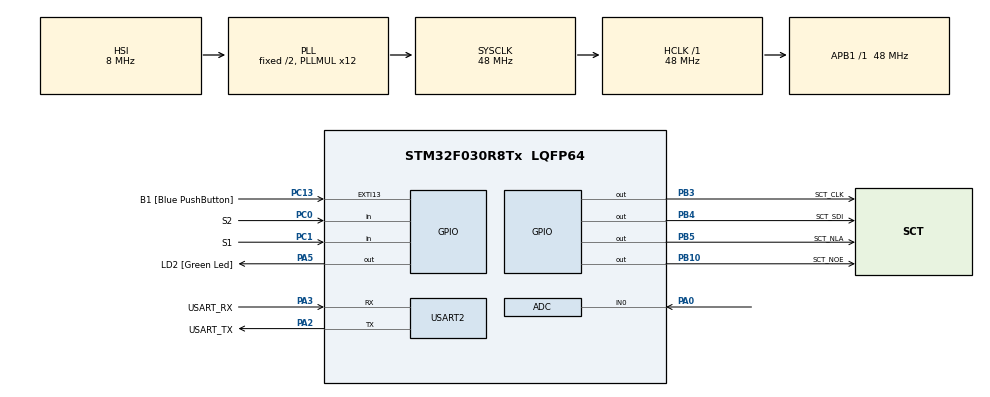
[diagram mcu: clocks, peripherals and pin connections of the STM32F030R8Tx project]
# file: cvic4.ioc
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ADC.ContinuousConvMode=ENABLE
ADC.Overrun=ADC_OVR_DATA_OVERWRITTEN
ADC.SamplingTime=ADC_SAMPLETIME_239CYCLES_5
Mcu.Family=STM32F0
Mcu.Name=STM32F030R8Tx
Mcu.Package=LQFP64
NVIC.ADC1_IRQn=true\:0\:0\:false\:false\:true\:true\:true\:true
PA0.Mode=IN0
PA0.Signal=ADC_IN0
PA13.GPIO_Label=TMS
PA13.Mode=Serial_Wire
PA13.Signal=SYS_SWDIO
PA14.GPIO_Label=TCK
PA14.Mode=Serial_Wire
PA14.Signal=SYS_SWCLK
PA2.GPIO_Label=USART_TX
PA2.GPIO_Mode=GPIO_MODE_AF_PP
PA2.GPIO_PuPd=GPIO_NOPULL
PA2.GPIO_Speed=GPIO_SPEED_FREQ_LOW
PA2.Mode=Asynchronous
PA2.Signal=USART2_TX
PA3.GPIO_Label=USART_RX
PA3.GPIO_Mode=GPIO_MODE_AF_PP
PA3.GPIO_PuPd=GPIO_NOPULL
PA3.GPIO_Speed=GPIO_SPEED_FREQ_LOW
PA3.Mode=Asynchronous
PA3.Signal=USART2_RX
PA5.GPIO_Label=LD2 [Green Led]
PA5.GPIO_Mode=GPIO_MODE_OUTPUT_PP
PA5.GPIO_PuPd=GPIO_NOPULL
PA5.GPIO_Speed=GPIO_SPEED_FREQ_LOW
PA5.Signal=GPIO_Output
PB10.GPIO_Label=SCT_NOE
PB10.Signal=GPIO_Output
PB3.GPIO_Label=SCT_CLK
PB3.Signal=GPIO_Output
PB4.GPIO_Label=SCT_SDI
PB4.Signal=GPIO_Output
PB5.GPIO_Label=SCT_NLA
PB5.Signal=GPIO_Output
PC0.GPIO_Label=S2
PC0.GPIO_PuPd=GPIO_PULLUP
PC0.Signal=GPIO_Input
PC1.GPIO_Label=S1
PC1.GPIO_PuPd=GPIO_PULLUP
PC1.Signal=GPIO_Input
PC13.GPIO_Label=B1 [Blue PushButton]
PC13.GPIO_ModeDefaultEXTI=GPIO_MODE_IT_FALLING
PC13.Signal=GPXTI13
PC14-OSC32_IN.Mode=LSE-External-Oscillator
PC14-OSC32_IN.Signal=RCC_OSC32_IN
PC15-OSC32_OUT.Mode=LSE-External-Oscillator
PC15-OSC32_OUT.Signal=RCC_OSC32_OUT
PF0-OSC_IN.Mode=HSE-External-Clock-Source
PF0-OSC_IN.Signal=RCC_OSC_IN
PF1-OSC_OUT.Signal=RCC_OSC_OUT
ProjectManager.HeapSize=0x200
ProjectManager.StackSize=0x400
ProjectManager.TargetToolchain=STM32CubeIDE
RCC.AHBFreq_Value=48000000
RCC.APB1Freq_Value=48000000
RCC.APB1TimFreq_Value=48000000
RCC.HCLKFreq_Value=48000000
RCC.PLLMUL=RCC_PLL_MUL12
RCC.SYSCLKFreq_VALUE=48000000
RCC.SYSCLKSource=RCC_SYSCLKSOURCE_PLLCLK
USART2.VirtualMode-Asynchronous=VM_ASYNC
VP_ADC_TempSens_Input.Mode=IN-TempSens
VP_ADC_Vref_Input.Mode=IN-Vrefint
board=NUCLEO-F030R8

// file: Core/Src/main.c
/* USER CODE BEGIN Header */
/**
  ******************************************************************************
  * @file           : main.c
  * @brief          : Main program body
  ******************************************************************************
  * @attention
  *
  * Copyright (c) 2023 STMicroelectronics.
  * All rights reserved.
  *
  * This software is licensed under terms that can be found in the LICENSE file
  * in the root directory of this software component.
  * If no LICENSE file comes with this software, it is provided AS-IS.
  *
  ******************************************************************************
  */
/* USER CODE END Header */
#include "main.h"

/* USER CODE BEGIN Includes */
#include "sct.h"
/* USER CODE END Includes */

ADC_HandleTypeDef hadc;

UART_HandleTypeDef huart2;

void SystemClock_Config(void);
static void MX_GPIO_Init(void);
static void MX_USART2_UART_Init(void);
static void MX_ADC_Init(void);
/* USER CODE BEGIN PFP */

static volatile uint32_t raw_pot;
static volatile uint32_t raw_temp;
static volatile uint32_t raw_volt;
static uint32_t avg_pot;
static uint8_t channel;

void HAL_ADC_ConvCpltCallback(ADC_HandleTypeDef* hadc)
{
	if (channel == 0) {
		raw_pot = avg_pot / 4096;
		avg_pot -= raw_pot;
		avg_pot += HAL_ADC_GetValue(hadc);
	}
	if (channel == 1){
		raw_temp = HAL_ADC_GetValue(hadc);
	}
	if (channel == 2){
		raw_volt = HAL_ADC_GetValue(hadc);
	}

	if (__HAL_ADC_GET_FLAG(hadc, ADC_FLAG_EOS)) channel = 0;
	else channel++;
}

/* USER CODE END PFP */

int main(void)
{

  /* MCU Configuration--------------------------------------------------------*/

  /* Reset of all peripherals, Initializes the Flash interface and the Systick. */
  HAL_Init();

  /* Configure the system clock */
  SystemClock_Config();

  /* Initialize all configured peripherals */
  MX_GPIO_Init();
  MX_USART2_UART_Init();
  MX_ADC_Init();

  /* Infinite loop */
  /* USER CODE BEGIN WHILE */

  HAL_ADCEx_Calibration_Start(&hadc);
  HAL_ADC_Start_IT(&hadc);

  /* Temperature sensor calibration value address */
#define TEMP110_CAL_ADDR ((uint16_t*) ((uint32_t) 0x1FFFF7C2))
#define TEMP30_CAL_ADDR ((uint16_t*) ((uint32_t) 0x1FFFF7B8))
  /* Internal voltage reference calibration value address */
#define VREFINT_CAL_ADDR ((uint16_t*) ((uint32_t) 0x1FFFF7BA))

  while (1)
  {

	  sct_value((raw_pot * (500+1)) / 4096, (raw_pot * 9) / 4096);
	  HAL_Delay(50);

	  uint32_t voltage = 330 * (*VREFINT_CAL_ADDR) / raw_volt;
	  int32_t temperature = (raw_temp - (int32_t)(*TEMP30_CAL_ADDR));
	  temperature = temperature * (int32_t)(110 - 30);
	  temperature = temperature / (int32_t)(*TEMP110_CAL_ADDR - *TEMP30_CAL_ADDR);
	  temperature = temperature + 30;

	  static enum { SHOW_POT, SHOW_VOLT, SHOW_TEMP } state = SHOW_POT;

	  switch (state){

	  case SHOW_POT:
		  sct_value((raw_pot * (500+1)) / 4096, (raw_pot * 9) / 4096);
		  HAL_Delay(1000);
		  state = SHOW_POT;
	  case SHOW_VOLT:
		  sct_value(voltage, (raw_pot * 9) / 4096);
		  HAL_Delay(1000);
		  state = SHOW_POT;
	  case SHOW_TEMP:
		  sct_value(temperature, (raw_pot * 9) / 4096);
		  HAL_Delay(1000);
		  state = SHOW_POT;
	  }

	  uint32_t s2 = HAL_GPIO_ReadPin(S2_GPIO_Port, S2_Pin);
	  uint32_t s1 = HAL_GPIO_ReadPin(S1_GPIO_Port, S1_Pin);

	  }

  }

    /* USER CODE END WHILE */

  }

void SystemClock_Config(void)
{
  RCC_OscInitTypeDef RCC_OscInitStruct = {0};
  RCC_ClkInitTypeDef RCC_ClkInitStruct = {0};

  /** Initializes the RCC Oscillators according to the specified parameters
  * in the RCC_OscInitTypeDef structure.
  */
  RCC_OscInitStruct.OscillatorType = RCC_OSCILLATORTYPE_HSI|RCC_OSCILLATORTYPE_HSI14;
  RCC_OscInitStruct.HSIState = RCC_HSI_ON;
  RCC_OscInitStruct.HSI14State = RCC_HSI14_ON;
  RCC_OscInitStruct.HSICalibrationValue = RCC_HSICALIBRATION_DEFAULT;
  RCC_OscInitStruct.HSI14CalibrationValue = 16;
  RCC_OscInitStruct.PLL.PLLState = RCC_PLL_ON;
  RCC_OscInitStruct.PLL.PLLSource = RCC_PLLSOURCE_HSI;
  RCC_OscInitStruct.PLL.PLLMUL = RCC_PLL_MUL12;
  RCC_OscInitStruct.PLL.PREDIV = RCC_PREDIV_DIV1;
  if (HAL_RCC_OscConfig(&RCC_OscInitStruct) != HAL_OK)
  {
    Error_Handler();
  }

  /** Initializes the CPU, AHB and APB buses clocks
  */
  RCC_ClkInitStruct.ClockType = RCC_CLOCKTYPE_HCLK|RCC_CLOCKTYPE_SYSCLK
                              |RCC_CLOCKTYPE_PCLK1;
  RCC_ClkInitStruct.SYSCLKSource = RCC_SYSCLKSOURCE_PLLCLK;
  RCC_ClkInitStruct.AHBCLKDivider = RCC_SYSCLK_DIV1;
  RCC_ClkInitStruct.APB1CLKDivider = RCC_HCLK_DIV1;

  if (HAL_RCC_ClockConfig(&RCC_ClkInitStruct, FLASH_LATENCY_1) != HAL_OK)
  {
    Error_Handler();
  }
}

static void MX_ADC_Init(void)
{

  ADC_ChannelConfTypeDef sConfig = {0};

  /** Configure the global features of the ADC (Clock, Resolution, Data Alignment and number of conversion)
  */
  hadc.Instance = ADC1;
  hadc.Init.ClockPrescaler = ADC_CLOCK_ASYNC_DIV1;
  hadc.Init.Resolution = ADC_RESOLUTION_12B;
  hadc.Init.DataAlign = ADC_DATAALIGN_RIGHT;
  hadc.Init.ScanConvMode = ADC_SCAN_DIRECTION_FORWARD;
  hadc.Init.EOCSelection = ADC_EOC_SINGLE_CONV;
  hadc.Init.LowPowerAutoWait = DISABLE;
  hadc.Init.LowPowerAutoPowerOff = DISABLE;
  hadc.Init.ContinuousConvMode = ENABLE;
  hadc.Init.DiscontinuousConvMode = DISABLE;
  hadc.Init.ExternalTrigConv = ADC_SOFTWARE_START;
  hadc.Init.ExternalTrigConvEdge = ADC_EXTERNALTRIGCONVEDGE_NONE;
  hadc.Init.DMAContinuousRequests = DISABLE;
  hadc.Init.Overrun = ADC_OVR_DATA_OVERWRITTEN;
  if (HAL_ADC_Init(&hadc) != HAL_OK)
  {
    Error_Handler();
  }

  /** Configure for the selected ADC regular channel to be converted.
  */
  sConfig.Channel = ADC_CHANNEL_0;
  sConfig.Rank = ADC_RANK_CHANNEL_NUMBER;
  sConfig.SamplingTime = ADC_SAMPLETIME_239CYCLES_5;
  if (HAL_ADC_ConfigChannel(&hadc, &sConfig) != HAL_OK)
  {
    Error_Handler();
  }

  /** Configure for the selected ADC regular channel to be converted.
  */
  sConfig.Channel = ADC_CHANNEL_TEMPSENSOR;
  if (HAL_ADC_ConfigChannel(&hadc, &sConfig) != HAL_OK)
  {
    Error_Handler();
  }

  /** Configure for the selected ADC regular channel to be converted.
  */
  sConfig.Channel = ADC_CHANNEL_VREFINT;
  if (HAL_ADC_ConfigChannel(&hadc, &sConfig) != HAL_OK)
  {
    Error_Handler();
  }

}

static void MX_USART2_UART_Init(void)
{

  huart2.Instance = USART2;
  huart2.Init.BaudRate = 38400;
  huart2.Init.WordLength = UART_WORDLENGTH_8B;
  huart2.Init.StopBits = UART_STOPBITS_1;
  huart2.Init.Parity = UART_PARITY_NONE;
  huart2.Init.Mode = UART_MODE_TX_RX;
  huart2.Init.HwFlowCtl = UART_HWCONTROL_NONE;
  huart2.Init.OverSampling = UART_OVERSAMPLING_16;
  huart2.Init.OneBitSampling = UART_ONE_BIT_SAMPLE_DISABLE;
  huart2.AdvancedInit.AdvFeatureInit = UART_ADVFEATURE_NO_INIT;
  if (HAL_UART_Init(&huart2) != HAL_OK)
  {
    Error_Handler();
  }

}

static void MX_GPIO_Init(void)
{
  GPIO_InitTypeDef GPIO_InitStruct = {0};

  /* GPIO Ports Clock Enable */
  __HAL_RCC_GPIOC_CLK_ENABLE();
  __HAL_RCC_GPIOF_CLK_ENABLE();
  __HAL_RCC_GPIOA_CLK_ENABLE();
  __HAL_RCC_GPIOB_CLK_ENABLE();

  /*Configure GPIO pin Output Level */
  HAL_GPIO_WritePin(LD2_GPIO_Port, LD2_Pin, GPIO_PIN_RESET);

  /*Configure GPIO pin Output Level */
  HAL_GPIO_WritePin(GPIOB, SCT_NOE_Pin|SCT_CLK_Pin|SCT_SDI_Pin|SCT_NLA_Pin, GPIO_PIN_RESET);

  /*Configure GPIO pin : B1_Pin */
  GPIO_InitStruct.Pin = B1_Pin;
  GPIO_InitStruct.Mode = GPIO_MODE_IT_FALLING;
  GPIO_InitStruct.Pull = GPIO_NOPULL;
  HAL_GPIO_Init(B1_GPIO_Port, &GPIO_InitStruct);

  /*Configure GPIO pins : S2_Pin S1_Pin */
  GPIO_InitStruct.Pin = S2_Pin|S1_Pin;
  GPIO_InitStruct.Mode = GPIO_MODE_INPUT;
  GPIO_InitStruct.Pull = GPIO_PULLUP;
  HAL_GPIO_Init(GPIOC, &GPIO_InitStruct);

  /*Configure GPIO pin : LD2_Pin */
  GPIO_InitStruct.Pin = LD2_Pin;
  GPIO_InitStruct.Mode = GPIO_MODE_OUTPUT_PP;
  GPIO_InitStruct.Pull = GPIO_NOPULL;
  GPIO_InitStruct.Speed = GPIO_SPEED_FREQ_LOW;
  HAL_GPIO_Init(LD2_GPIO_Port, &GPIO_InitStruct);

  /*Configure GPIO pins : SCT_NOE_Pin SCT_CLK_Pin SCT_SDI_Pin SCT_NLA_Pin */
  GPIO_InitStruct.Pin = SCT_NOE_Pin|SCT_CLK_Pin|SCT_SDI_Pin|SCT_NLA_Pin;
  GPIO_InitStruct.Mode = GPIO_MODE_OUTPUT_PP;
  GPIO_InitStruct.Pull = GPIO_NOPULL;
  GPIO_InitStruct.Speed = GPIO_SPEED_FREQ_LOW;
  HAL_GPIO_Init(GPIOB, &GPIO_InitStruct);

}

void Error_Handler(void)
{
  __disable_irq();
  while (1)
  {
  }
}
